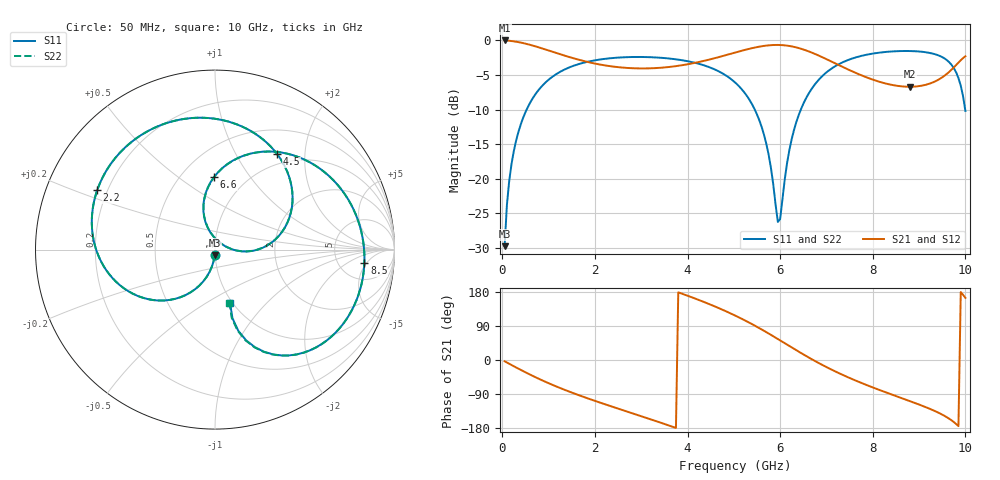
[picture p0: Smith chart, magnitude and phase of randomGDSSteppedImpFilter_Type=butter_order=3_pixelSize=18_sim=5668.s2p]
! freq	dB(S11)	phase(S11)	dB(S12)	phase(S12)
!  dB(S21)	phase(S21)	dB(S22)	phase(S22)
!S-par simulation data
#  GHz  S  DB  R 50
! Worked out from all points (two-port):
!   200 points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, 50 MHz to 10 GHz, reference 50 ohm
!   highest |S21| = -0.01 dB at 50 MHz (marker M1); lowest = -6.7 dB at 8.8 GHz (marker M2)
!   |S21| within 3 dB of the highest: start of sweep to 1.775 GHz; 4.324 GHz to 7.093 GHz (2.77 GHz wide, 48.5 % of centre) (the widest 2 of 3)
!   lowest |S11| = -29.8 dB at 50 MHz (marker M3), VSWR 1.07, Z = 49.7 - j3.23 ohm
!   |S11| at or under -10 dB: start of sweep to 526.3 MHz; 5.452 GHz to 6.447 GHz (994.6 MHz wide, 16.7 % of centre); 9.995269 GHz to end of sweep
!   |S22| runs from -29.8 to -1.5 dB; largest |S21 - S12| = 0
!   S11 on the Smith chart (normalised r, x): 50 MHz: 0.99, -0.06; 2.2 GHz: 0.16, +0.23; 4.5 GHz: 0.84, +1.50; 6.6 GHz: 0.71, +0.69; 8.5 GHz: 9, -4; 10 GHz: 0.98, -0.64
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0.05  -29.75 -93.4  -0.01 -3.4  -0.01 -3.4  -29.75 -93.4
0.1  -23.76 -96.9  -0.02 -6.7  -0.02 -6.7  -23.76 -96.9
0.2  -17.84 -103.7  -0.09 -13.3  -0.09 -13.3  -17.84 -103.7
0.5  -10.38 -123.0  -0.46 -32.5  -0.46 -32.5  -10.38 -123.0
1.05  -5.41 -154.4  -1.57 -63.9  -1.57 -63.9  -5.41 -154.4
1.75  -3.24 172.3  -2.96 -97.2  -2.96 -97.2  -3.24 172.3
2.2  -2.68 153.3  -3.59 -116.1  -3.59 -116.1  -2.68 153.3
3.4  -2.50 105.2  -3.96 -164.5  -3.96 -164.5  -2.50 105.2
4.5  -3.95 56.9  -2.72 146.0  -2.72 146.0  -3.95 56.9
5.05  -6.22 28.7  -1.71 116.0  -1.71 116.0  -6.22 28.8
5.65  -13.61 -2.0  -0.79 77.2  -0.79 77.2  -13.61 -1.8
5.95  -26.25 38.6  -0.65 55.4  -0.65 55.4  -26.11 38.9
6.25  -14.25 108.3  -0.86 33.1  -0.86 33.1  -14.24 108.0
6.6  -7.87 90.8  -1.55 7.8  -1.55 7.8  -7.87 90.7
6.7  -6.81 84.8  -1.81 0.9  -1.81 0.9  -6.81 84.7
7.35  -3.16 47.8  -3.83 -39.3  -3.83 -39.3  -3.16 47.7
8.35  -1.63 1.2  -6.34 -88.5  -6.34 -88.5  -1.63 1.2
8.5  -1.56 -5.1  -6.54 -95.1  -6.54 -95.1  -1.56 -5.1
8.8  -1.53 -17.5  -6.70 -108.4  -6.70 -108.4  -1.53 -17.6
9.6  -2.85 -54.9  -4.83 -151.1  -4.83 -151.1  -2.85 -55.1
9.85  -5.44 -71.1  -3.21 -174.5  -3.21 -174.5  -5.46 -71.4
10  -10.20 -74.2  -2.30 164.0  -2.30 164.0  -10.27 -74.9
